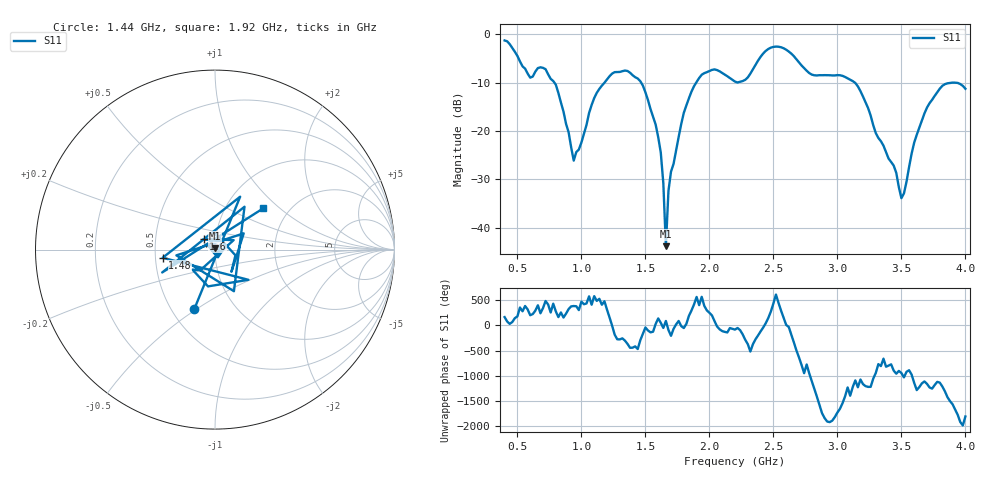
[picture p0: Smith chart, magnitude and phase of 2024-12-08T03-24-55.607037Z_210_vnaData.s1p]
!Created with skrf (http://scikit-rf.org).
# Hz S RI R 50.0
!freq ReS11 ImS11
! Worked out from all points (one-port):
!   181 points, 400 MHz to 4 GHz, reference 50 ohm
!   lowest |S11| = -43.8 dB at 1.66 GHz (marker M1), VSWR 1.01, Z = 50 + j0.648 ohm
!   |S11| at or under -10 dB: 788.4 MHz to 1.181 GHz (392.8 MHz wide, 39.9 % of centre); 1.466 GHz to 1.897 GHz (430.9 MHz wide, 25.6 % of centre); 3.136 GHz to end of sweep
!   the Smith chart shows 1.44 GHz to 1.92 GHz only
!   S11 on the Smith chart (normalised r, x): 1.44 GHz: 0.65, -0.49; 1.48 GHz: 0.55, -0.05; 1.6 GHz: 0.87, +0.10; 1.92 GHz: 1.49, +0.78
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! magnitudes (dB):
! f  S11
! 400 MHz  -1.3
! 600 MHz  -9.0
! 720 MHz  -7.2
! 860 MHz  -16.0
! 940 MHz  -26.1
! 1.12 GHz  -12.1
! 1.3 GHz  -7.8
! 1.44 GHz  -9.2
! 1.48 GHz  -10.6
! 1.6 GHz  -21.3
! 1.64 GHz  -30.8
! 1.66 GHz  -43.8
! 1.68 GHz  -32.4
! 1.76 GHz  -21.2
! 1.82 GHz  -14.7
! 1.92 GHz  -9.1
! 2.04 GHz  -7.3
! 2.2 GHz  -9.8
! 2.48 GHz  -2.8
! 2.66 GHz  -4.6
! 2.8 GHz  -8.4
! 3.1 GHz  -9.4
! 3.44 GHz  -27.1
! 3.5 GHz  -33.9
! 3.56 GHz  -27.5
! 3.68 GHz  -16.4
! 3.8 GHz  -11.3
! 4 GHz  -11.3
